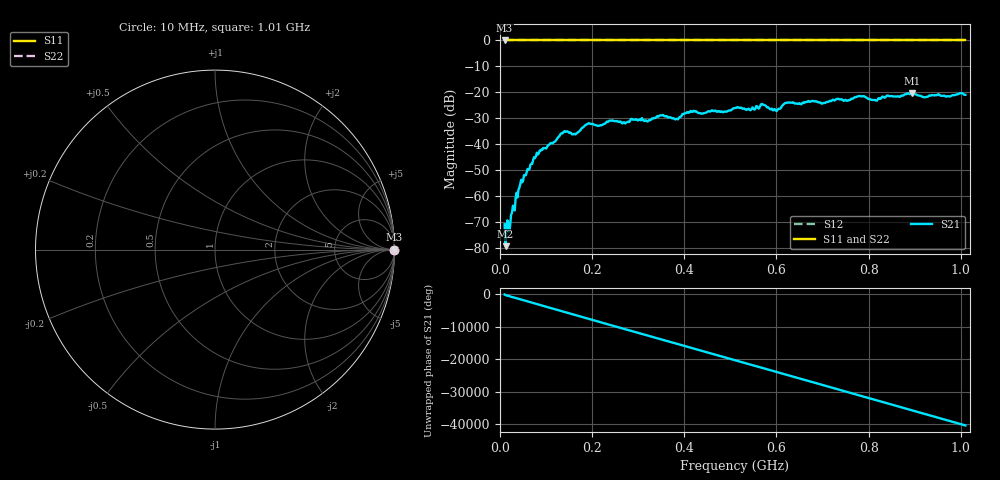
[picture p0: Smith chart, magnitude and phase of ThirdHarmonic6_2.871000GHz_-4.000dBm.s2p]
! 8/17/2025 7:50:44 AM
! C:\ANRITSUVNA\TEMP\TEMP.S2P
! CHANNEL.1
! TR.MEASUREMENT
! RAW.DATA
! RF.CORRECTION.OFF
! AVERAGING.OFF
! IF.BANDWIDTH: 5KHZ
! SWEEPTYPE:  FREQ.SWEEP(Linear)
! Reference Plane Port Info
! PORT:  PORT1  PORT2
! DISTANCE:  0  m  0  m
! TIME:  0  s  0  s
! PHASE.OFFSET:  0  deg.  0  deg.
! LOSS:  0  dB  0  dB
! REF.LOSS:  0  dB  0  dB
! REF.FREQ:  0  Hz  0  Hz
! Power Info
! POWER:  -20  dBm  -20  dBm
! EFF.POWER:  -20  dBm  -20  dBm
! SOURCE.ATTEN:  0  dB  0  dB
! TEST.ATTEN:  0  dB  0  dB
# GHZ S RI R 50.0
! FREQ.GHZ  S11RE  S11IM  S21RE  S21IM  S12RE  S12IM  S22RE  S22IM
!; PortSelection: Port_12
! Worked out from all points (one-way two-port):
!   501 points, 10 MHz to 1.01 GHz, reference 50 ohm
!   highest |S21| = -20.25 dB at 894 MHz (marker M1); lowest = -79.2 dB at 12 MHz (marker M2)
!   lowest |S11| = 0.0 dB at 10 MHz (marker M3)
!   |S11| at or under -10 dB: nowhere
!   |S22| runs from 0.0 to 0.0 dB; largest |S21 - S12| = 1.1
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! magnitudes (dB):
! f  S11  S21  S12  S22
! 10 MHz  0.0  -70.8  0.0  0.0
! 12 MHz  0.0  -79.2  0.0  0.0
! 16 MHz  0.0  -69.3  0.0  0.0
! 44 MHz  0.0  -55.3  0.0  0.0
! 76 MHz  0.0  -45.3  0.0  0.0
! 136 MHz  0.0  -35.8  0.0  0.0
! 162 MHz  0.0  -36.0  0.0  0.0
! 178 MHz  0.0  -33.7  0.0  0.0
! 192 MHz  0.0  -31.9  0.0  0.0
! 322 MHz  0.0  -30.9  0.0  0.0
! 344 MHz  0.0  -29.3  0.0  0.0
! 384 MHz  0.0  -30.2  0.0  0.0
! 416 MHz  0.0  -27.5  0.0  0.0
! 510 MHz  0.0  -26.0  0.0  0.0
! 570 MHz  0.0  -24.6  0.0  0.0
! 598 MHz  0.0  -26.8  0.0  0.0
! 622 MHz  0.0  -24.0  0.0  0.0
! 678 MHz  0.0  -23.3  0.0  0.0
! 814 MHz  0.0  -22.9  0.0  0.0
! 844 MHz  0.0  -21.4  0.0  0.0
! 894 MHz  0.0  -20.3  0.0  0.0
! 1.01 GHz  0.0  -20.9  0.0  0.0
